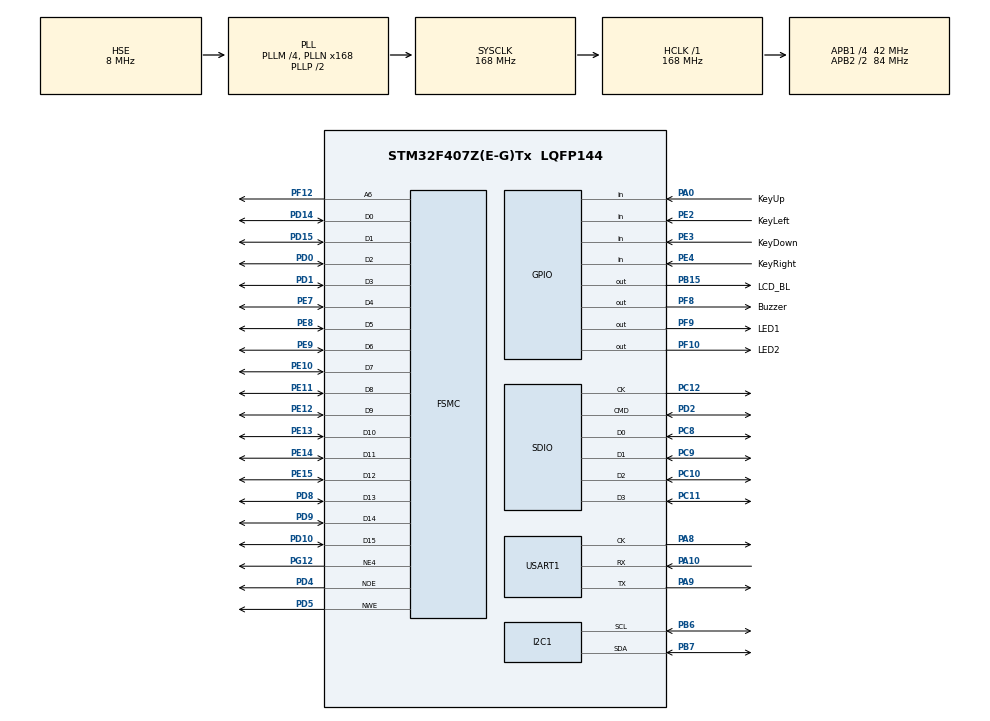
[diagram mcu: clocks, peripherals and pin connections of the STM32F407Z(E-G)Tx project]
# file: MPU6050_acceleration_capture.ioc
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FSMC.AccessMode4=FSMC_ACCESS_MODE_A
FSMC.AddressSetupTime4=2
FSMC.BusTurnAroundDuration4=0
FSMC.DataSetupTime4=16
FSMC.ExtendedAccessMode4=FSMC_ACCESS_MODE_A
FSMC.ExtendedAddressSetupTime4=4
FSMC.ExtendedBusTurnAroundDuration4=0
FSMC.ExtendedDataSetupTime4=9
FSMC.ExtendedMode4=FSMC_EXTENDED_MODE_ENABLE
FSMC.MemoryType4=FSMC_MEMORY_TYPE_SRAM
FSMC.NSBank4=FSMC_NORSRAM_BANK4
FSMC.WriteOperation4=FSMC_WRITE_OPERATION_ENABLE
I2C1.DutyCycle=I2C_DUTYCYCLE_16_9
I2C1.I2C_Mode=I2C_Fast
Mcu.Family=STM32F4
Mcu.Name=STM32F407Z(E-G)Tx
Mcu.Package=LQFP144
NVIC.PriorityGroup=NVIC_PRIORITYGROUP_4
NVIC.TIM2_IRQn=true\:0\:0\:false\:false\:true\:true\:true\:true
PA0-WKUP.GPIO_Label=KeyUp
PA0-WKUP.GPIO_PuPd=GPIO_PULLDOWN
PA0-WKUP.Signal=GPIO_Input
PA10.Mode=Synchronous
PA10.Signal=USART1_RX
PA13.Mode=Serial_Wire
PA13.Signal=SYS_JTMS-SWDIO
PA14.Mode=Serial_Wire
PA14.Signal=SYS_JTCK-SWCLK
PA8.Mode=Synchronous
PA8.Signal=USART1_CK
PA9.Mode=Synchronous
PA9.Signal=USART1_TX
PB15.GPIO_Label=LCD_BL
PB15.PinState=GPIO_PIN_RESET
PB15.Signal=GPIO_Output
PB6.Mode=I2C
PB6.Signal=I2C1_SCL
PB7.Mode=I2C
PB7.Signal=I2C1_SDA
PC10.Mode=SD_4_bits_Wide_bus
PC10.Signal=SDIO_D2
PC11.Mode=SD_4_bits_Wide_bus
PC11.Signal=SDIO_D3
PC12.Mode=SD_4_bits_Wide_bus
PC12.Signal=SDIO_CK
PC14-OSC32_IN.Mode=LSE-External-Oscillator
PC14-OSC32_IN.Signal=RCC_OSC32_IN
PC15-OSC32_OUT.Mode=LSE-External-Oscillator
PC15-OSC32_OUT.Signal=RCC_OSC32_OUT
PC8.Mode=SD_4_bits_Wide_bus
PC8.Signal=SDIO_D0
PC9.Mode=SD_4_bits_Wide_bus
PC9.Signal=SDIO_D1
PD0.Signal=FSMC_D2_DA2
PD1.Signal=FSMC_D3_DA3
PD10.Signal=FSMC_D15_DA15
PD14.Signal=FSMC_D0_DA0
PD15.Signal=FSMC_D1_DA1
PD2.Mode=SD_4_bits_Wide_bus
PD2.Signal=SDIO_CMD
PD4.Signal=FSMC_NOE
PD5.Signal=FSMC_NWE
PD8.Signal=FSMC_D13_DA13
PD9.Signal=FSMC_D14_DA14
PE10.Signal=FSMC_D7_DA7
PE11.Signal=FSMC_D8_DA8
PE12.Signal=FSMC_D9_DA9
PE13.Signal=FSMC_D10_DA10
PE14.Signal=FSMC_D11_DA11
PE15.Signal=FSMC_D12_DA12
PE2.GPIO_Label=KeyLeft
PE2.GPIO_PuPd=GPIO_PULLUP
PE2.Signal=GPIO_Input
PE3.GPIO_Label=KeyDown
PE3.GPIO_PuPd=GPIO_PULLUP
PE3.Signal=GPIO_Input
PE4.GPIO_Label=KeyRight
PE4.GPIO_PuPd=GPIO_PULLUP
PE4.Signal=GPIO_Input
PE7.Signal=FSMC_D4_DA4
PE8.Signal=FSMC_D5_DA5
PE9.Signal=FSMC_D6_DA6
PF10.GPIO_Label=LED2
PF10.Signal=GPIO_Output
PF12.Signal=FSMC_A6
PF8.GPIO_Label=Buzzer
PF8.GPIO_PuPd=GPIO_PULLDOWN
PF8.GPIO_Speed=GPIO_SPEED_FREQ_HIGH
PF8.PinState=GPIO_PIN_RESET
PF8.Signal=GPIO_Output
PF9.GPIO_Label=LED1
PF9.Signal=GPIO_Output
PG12.Mode=NorPsramChipSelect4_4
PG12.Signal=FSMC_NE4
PH0-OSC_IN.Mode=HSE-External-Oscillator
PH0-OSC_IN.Signal=RCC_OSC_IN
PH1-OSC_OUT.Mode=HSE-External-Oscillator
PH1-OSC_OUT.Signal=RCC_OSC_OUT
ProjectManager.HeapSize=0x200
ProjectManager.StackSize=0x400
ProjectManager.TargetToolchain=STM32CubeIDE
RCC.48MHZClocksFreq_Value=48000000
RCC.AHBFreq_Value=168000000
RCC.APB1CLKDivider=RCC_HCLK_DIV4
RCC.APB1Freq_Value=42000000
RCC.APB1TimFreq_Value=84000000
RCC.APB2CLKDivider=RCC_HCLK_DIV2
RCC.APB2Freq_Value=84000000
RCC.APB2TimFreq_Value=168000000
RCC.CortexFreq_Value=168000000
RCC.FLatency=FLASH_LATENCY_5
RCC.HCLKFreq_Value=168000000
RCC.HSE_VALUE=8000000
RCC.HSI_VALUE=16000000
RCC.PLLM=4
RCC.PLLN=168
RCC.PLLQ=7
RCC.PLLSourceVirtual=RCC_PLLSOURCE_HSE
RCC.SYSCLKFreq_VALUE=168000000
RCC.SYSCLKSource=RCC_SYSCLKSOURCE_PLLCLK
RCC.VCOOutputFreq_Value=336000000
SDIO.ClockDiv=6
SH.FSMC_A6.0=FSMC_A6,A6_4
SH.FSMC_D0_DA0.0=FSMC_D0,16b-d4
SH.FSMC_D10_DA10.0=FSMC_D10,16b-d4
SH.FSMC_D11_DA11.0=FSMC_D11,16b-d4
SH.FSMC_D12_DA12.0=FSMC_D12,16b-d4
SH.FSMC_D13_DA13.0=FSMC_D13,16b-d4
SH.FSMC_D14_DA14.0=FSMC_D14,16b-d4
SH.FSMC_D15_DA15.0=FSMC_D15,16b-d4
SH.FSMC_D1_DA1.0=FSMC_D1,16b-d4
SH.FSMC_D2_DA2.0=FSMC_D2,16b-d4
SH.FSMC_D3_DA3.0=FSMC_D3,16b-d4
SH.FSMC_D4_DA4.0=FSMC_D4,16b-d4
SH.FSMC_D5_DA5.0=FSMC_D5,16b-d4
SH.FSMC_D6_DA6.0=FSMC_D6,16b-d4
SH.FSMC_D7_DA7.0=FSMC_D7,16b-d4
SH.FSMC_D8_DA8.0=FSMC_D8,16b-d4
SH.FSMC_D9_DA9.0=FSMC_D9,16b-d4
SH.FSMC_NOE.0=FSMC_NOE,Lcd4
SH.FSMC_NWE.0=FSMC_NWE,Lcd4
TIM2.AutoReloadPreload=TIM_AUTORELOAD_PRELOAD_ENABLE
TIM2.Period=10000-1
TIM2.Prescaler=8400-1
USART1.VirtualMode=VM_SYNC
VP_FATFS_VS_SDIO.Mode=SDIO
VP_TIM2_VS_ClockSourceINT.Mode=Internal
board=custom

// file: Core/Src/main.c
/* USER CODE BEGIN Header */
/**
 ******************************************************************************
 * @file           : main.c
 * @brief          : Main program body
 ******************************************************************************
 * @attention
 *
 * Copyright (c) 2022 STMicroelectronics.
 * All rights reserved.
 *
 * This software is licensed under terms that can be found in the LICENSE file
 * in the root directory of this software component.
 * If no LICENSE file comes with this software, it is provided AS-IS.
 *
 ******************************************************************************
 */
/* USER CODE END Header */
#include "main.h"
#include "fatfs.h"
#include "i2c.h"
#include "sdio.h"
#include "tim.h"
#include "usart.h"
#include "gpio.h"
#include "fsmc.h"

/* USER CODE BEGIN Includes */
#include "lcd.h"
#include "MPU.h"
#include "string.h"

#include "lcd.h"   // 假设 lcd.h 是你用来控制 LCD 的头文件
#include "sdio.h"

//static int nums_tim_ex = -1;
static int nums_points = 0;
static int cur_rate = 0;
static int state = 0;
static char msg_tim[24];

void HAL_TIM_PeriodElapsedCallback(TIM_HandleTypeDef *htim)
{
	if(htim == &htim2)
	{
		if(state == 2)
		{
			//nums_tim_ex++;
			sprintf(msg_tim, "rate:%u/s", nums_points);
			cur_rate = nums_points;
			lcd_show_string(120, 0, 200, 20, 12, msg_tim, BLUE);
			nums_points = 0;
		}
	}
}

/* ------------------- 常量区 ------------------- */
#define BUFF_SIZE          240
#define AVG_SAMPLE_N       10
#define ACC_SENS           8192.0f          // LSB / g  (±2 g)
#define G2MS2              9.80665f          // 1 g = 9.80665 m/s²
#define PIXEL_SCALE        20.0f             // 1 m/s² -> 20 像素，可按需调整
#define LCD_Y_ZERO         200               // 在哪一行画 0 轴
#define FILE_FLUSH_LINES   64

/* ------------------- 全局 / 静态变量 ------------------- */
static float  acc_ms2_buf[BUFF_SIZE];        // 环形缓冲：真实 m/s²
static char   txt_buffer[FILE_FLUSH_LINES][32];
static int    txt_idx  = 0;                  // 写文本缓冲计数
static int    buf_idx  = 0;                  // 环形缓冲索引
static size_t points_total = 0;              // 采到的总点数

/* ------------------- 将 16 bit 原始值转换为 m/s² ------------------- */
static inline float raw_to_ms2(int16_t raw)
{
    return (raw / ACC_SENS) * G2MS2;
}

/* ------------------- 显示比例与坐标 ------------------- */
#define LCD_Y_ZERO      200.0f     /* 0 g 基准线像素行。改位置只需改这一行   */
#define BASE_PIXEL_SCALE 10.0f     /* 1 m/s² → 10 px（之前是 20 px）         */
/* ---------- Y 轴相关：已使用 ---------- */
#define LCD_Y_ZERO        200.0f
#define BASE_PIXEL_SCALE   10.0f   /* 1 m/s² → 10 px */
static float g_y_mult      = 1.0f; /* 纵向倍率 */

/* ---------- X 轴抽样：新增 ---------- */
#define X_SKIP_DEFAULT      8      /* 显示分辨率：每 8 个采样点 → 1 个像素 */
static uint8_t  g_x_skip   = X_SKIP_DEFAULT;  /* 运行时可调 */
static uint16_t g_x_accum  = 0;               /* 跳过计数器 */

/* 可选：运行时纵向放大倍率（例如按键修改 0.5 / 1 / 2） */
//static float g_y_mult = 1.0f;      /* 默认 ×1，可在按键或菜单里动态调整      */

/* USER CODE END Includes */

void SystemClock_Config(void);

int main(void)
{

  /* MCU Configuration--------------------------------------------------------*/

  /* Reset of all peripherals, Initializes the Flash interface and the Systick. */
  HAL_Init();

  /* Configure the system clock */
  SystemClock_Config();

  /* Initialize all configured peripherals */
  MX_GPIO_Init();
  MX_FSMC_Init();
  MX_I2C1_Init();
  MX_USART1_Init();
  MX_SDIO_SD_Init();
  MX_FATFS_Init();
  MX_TIM2_Init();
  /* USER CODE BEGIN 2 */
  HAL_TIM_Base_Start_IT(&htim2);
	lcd_init();
	mpu_init();
	//lcd_show_string(30, 50, 200, 16, 16, "starting", RED);

	while(create_and_write_txt() != 0)
	{
		lcd_show_string(40, 120, 200, 20, 32, "NO FAT32", RED);
		static int timer_value = 0;
		static int old_timer_value = 0;
		static int time_show_0 = 0;
		old_timer_value = timer_value;
		timer_value = __HAL_TIM_GET_COUNTER(&htim2);
		if(old_timer_value > timer_value)
		{
			time_show_0 ++;
			char msg_time_show_0[24];
			sprintf(msg_time_show_0,"waiting:%d",time_show_0);
			lcd_show_string(40, 160, 200, 20, 32, msg_time_show_0, RED);
		}
	}

	int data_list[240];
	float data_source_g[240];
	int data_list_diff[240];
	data_list[0]=0;
	unsigned int idx = 0;
	lcd_draw_line(0, 200, 239, 200,0x07FF);

  /* USER CODE END 2 */

  /* Infinite loop */
  /* USER CODE BEGIN WHILE */
	while (1) {

//		while (1) {
//
//			//KEY_TEST
//			int ans_key_W =read_key_state('W');
//			char MSG_KEY_W[32];
//			sprintf(MSG_KEY_W, "KEY_W:%d", ans_key_W);
//			lcd_show_string(0, 0, 200, 20, 16, MSG_KEY_W, RED);
//
//			int ans_key_A =read_key_state('A');
//			char MSG_KEY_A[32];
//			sprintf(MSG_KEY_A, "KEY_A:%d", ans_key_A);
//			lcd_show_string(0, 20, 200, 20, 16, MSG_KEY_A, RED);
//
//			int ans_key_S =read_key_state('S');
//			char MSG_KEY_S[32];
//			sprintf(MSG_KEY_S, "KEY_S:%d", ans_key_S);
//			lcd_show_string(0, 40, 200, 20, 16, MSG_KEY_S, RED);
//
//			int ans_key_D =read_key_state('D');
//			char MSG_KEY_D[32];
//			sprintf(MSG_KEY_D, "KEY_D:%d", ans_key_D);
//			lcd_show_string(0, 60, 200, 20, 16, MSG_KEY_D, RED);
//
//		}
		int is_fir = 1;
		static char cur_dir = 'x';
		char data_path[24];

		while(state == 0)
		{
			lcd_show_string(0, 0, 200, 20, 16, ">>>----<<<          ", BLACK);
			lcd_show_string(0, 20, 200, 20, 16, "MAIN MENU", BLUE);
			lcd_show_string(0, 40, 200, 20, 16, "[A:START]", BLACK);
			if(is_fir == 1)
			{
				lcd_show_string(0, 140, 200, 20, 16, "CUR DIR:X  ", 0xB9E0);
				is_fir = 0;
			}
			lcd_show_string(0, 60, 200, 20, 16, "[S:CHANGE DIR Y]", BLACK);
			lcd_show_string(0, 80, 200, 20, 16, "[W:CHANGE DIR Z]", BLACK);
			lcd_show_string(0, 100, 200, 20, 16, "[D:CHANGE DIR X]", BLACK);
			lcd_show_string(0, 120, 200, 20, 16, ">>>----<<<", BLACK);

			lcd_show_string(120, 240, 200, 20, 16, "---KEY SET---", BLACK);
			lcd_show_string(120, 260, 200, 20, 16, "        oW", BLACK);
			lcd_show_string(120, 285, 200, 20, 16, "oRST oA oS oD", BLACK);
			if(read_key_state('A') == 0)
			{
				while(read_key_state('A') == 0)
				{

				}
				lcd_fill(0, 0, 239, 319,0xFFFF);
				state = 1;
			}

			if(read_key_state('S') == 0)
			{
				lcd_show_string(0, 140, 200, 20, 16, " CUR DIR:Y  ", 0x045F);
				cur_dir = 'y';
				data_path[4]='y';
			}

			if(read_key_state('W') == 0)
			{
				lcd_show_string(0, 140, 200, 20, 16, "  CUR DIR:Z ", 0x05E0);
				cur_dir = 'z';
				data_path[4]='z';
			}

			if(read_key_state('D') == 0)
			{
				lcd_show_string(0, 140, 200, 20, 16, "CUR DIR:X  ", 0xB9E0);
				cur_dir = 'x';
				data_path[4]='x';
			}
		}
		static int sel_file = 2;
		while(state == 1)
		{
			int is_fr_s1 = 1;
			int is_SD = 1;
			if(is_fr_s1 == 1)
			{
				is_SD = create_and_write_txt();
				is_fr_s1 = 0;
			}
			if(is_SD != 0)
			{
				char MSG_SD[32];
				sprintf(MSG_SD, "SD_FAT32_WRONG:%d", is_SD);  // 显示两位小数
				lcd_show_string(0, 0, 200, 20, 16, MSG_SD, RED);

				lcd_fill(0, 20, 239, 319,0xFFFF);
				state = 0;
			}
			else
			{
				lcd_show_string(0, 0, 200, 20, 12, "W/S:SELECT FILE[A:OK][D:VIEW]", RED);
				lcd_show_string(120, 240, 200, 20, 16, "---KEY SET---", BLACK);
				lcd_show_string(120, 260, 200, 20, 16, "        oW", BLACK);
				lcd_show_string(120, 285, 200, 20, 16, "oRST oA oS oD", BLACK);
				int nums_file = display_sd_card_files();
				//state = 2;
				lcd_show_string(200, sel_file*12, 200, 20, 12, "<<<", BLUE);
				if(read_key_state('W') == 0)
				{
					if(sel_file > 1)
					{
						sel_file -= 1;
						lcd_fill(200, 12, 239, 319,0xFFFF);
						lcd_show_string(200, sel_file*12, 200, 20, 12, "<<<", BLUE);
						if(sel_file == 1)
						{
							lcd_fill(200, 12, 239, 319,0xFFFF);
							lcd_show_string(0, sel_file*12, 200, 20, 12, "NEW FILE", RED);
							lcd_show_string(200, sel_file*12, 200, 20, 12, "<<<", BLUE);
						}
					}
					while(read_key_state('W') == 0)
					{

					}
				}
				if(read_key_state('S') == 0)
				{
					if(sel_file < nums_file+1)
					{
						sel_file += 1;
						lcd_fill(200, 12, 239, 319,0xFFFF);
						lcd_show_string(200, sel_file*12, 200, 20, 12, "<<<", BLUE);
					}
					while(read_key_state('S') == 0)
					{

					}
				}
				if(read_key_state('A') == 0)
				{
					while(read_key_state('A') == 0)
					{

					}
					if(sel_file == 1)
					{
						int isOK_new_file = create_data_file(nums_file+1);
						if(isOK_new_file != 0)
						{
							lcd_fill(0, 12, 239, 319,0xFFFF);
							lcd_show_string(0, 0, 200, 20, 12, "File Create Failed", RED);
							lcd_show_string(0, 12, 200, 20, 12, "D:EXIT", RED);
							while(read_key_state('D') == 1)
							{

							}
						}
						else
						{
							snprintf(data_path, sizeof(data_path), "data%d.txt", nums_file+1);
							lcd_fill(0, 0, 239, 319,0xFFFF);
							state = 3;
						}
					}
					else
					{
						//char sel_file_name[24];
						int test_open_file = get_file_name_by_index(sel_file-2, data_path);
						//lcd_show_string(0, 12, 200, 20, 12, data_path, RED);
						lcd_fill(0, 0, 239, 319,0xFFFF);
						//lcd_show_string(0, 12, 200, 20, 12, sel_file_name, RED);
						state = 3;
					}
				}
				if(read_key_state('D') == 0)
				{
					while(read_key_state('D') == 0)
					{

					}
					lcd_fill(0, 0, 239, 319,0xFFFF);
					state = 4;
				}

			}
		}

		static int wave_show = 0;
		static unsigned int disp_rate = 0;
		if(state == 3)
		{
			lcd_show_string(0, 0, 200, 20, 12, data_path, BLACK);
			lcd_show_string(0, 12, 200, 20, 12, "[A:HIGH SPEED NO WAVE SHOW]", BLUE);
			lcd_show_string(0, 24, 200, 20, 12, "[S:LOW SPEED WITH WAVE SHOW]", RED);
			lcd_show_string(0, 36, 200, 20, 12, "[D:EXIT]", BLACK);
			if(read_key_state('A') == 0)
			{
				while(read_key_state('A') == 0)
				{

				}
				lcd_fill(0, 0, 239, 319,0xFFFF);
				wave_show = 0;
				state = 2;
			}

			if(read_key_state('S') == 0)
			{
				while(read_key_state('S') == 0)
				{

				}
				lcd_fill(0, 0, 239, 319,0xFFFF);
				wave_show = 1;
				state = 2;
			}

			if(read_key_state('D') == 0)
			{
				while(read_key_state('D') == 0)
				{

				}
				lcd_fill(0, 0, 239, 319,0xFFFF);
				state = 1;
			}
		}

		if(state == 4)
		{

			static int start_line = 0;
			display_file_first_10_lines(sel_file-2,start_line);
			lcd_show_string(0, 0, 200, 20, 12, "[D:EXIT][S:NETX PAGE][W:LAST PAGE]", RED);

//			lcd_show_string(120, 240, 200, 20, 16, "---KEY SET---", BLACK);
//			lcd_show_string(120, 260, 200, 20, 16, "        oW", BLACK);
//			lcd_show_string(120, 285, 200, 20, 16, "oRST oA oS oD", BLACK);

			char title[]="PAGE:    ";
			snprintf(title, sizeof(title), "PAGE:%d", start_line/24+1);
			lcd_show_string(0, 12, 200, 20, 12, title, RED);

			if(read_key_state('D') == 0)
			{
				while(read_key_state('D') == 0)
				{

				}
				start_line = 0;
				lcd_fill(0, 0, 239, 319,0xFFFF);
				state = 1;
			}
			if(read_key_state('S') == 0)
			{
				while(read_key_state('S') == 0)
				{

				}
				lcd_fill(0, 0, 239, 319,0xFFFF);
				start_line += 24;
			}
			if(read_key_state('W') == 0)
			{
				while(read_key_state('W') == 0)
				{

				}
				lcd_fill(0, 0, 239, 319,0xFFFF);
				if(start_line >= 24)
				{
					start_line -= 24;
				}
			}
		}

	    // 定义一个函数指针类型
	    typedef int16_t (*MPU_Read_Accel_Func)(void);

	    MPU_Read_Accel_Func read_accel_func;

	    if (cur_dir == 'x')
	    {
	        read_accel_func = MPU_Read_Accel_X;
	    }
	    else if (cur_dir == 'y')
	    {
	        read_accel_func = MPU_Read_Accel_Y;
	    }
	    else if (cur_dir == 'z')
	    {
	        read_accel_func = MPU_Read_Accel_Z;
	    }

	    char data_buffer[64][16];  // 缓存，用于存储 64 次加速度数据
	    int buffer_index = 0;     // 当前缓存索引

		float base_bis = 0;
		float cru_bis = 1.0;
		int is_fir_s2 = 1;

//		while(state == 2)
//		{
//		    idx = (idx + 1) % 240;
//		    int sum = 0;
//		    int16_t A = 0;  // 加�?�度值，根据方向动�?�获�??
//
//		    // 执行循环并读取加速度数据
//		    for (int j = 0; j < 60; j++)
//		    {
//		        A = read_accel_func();  // 调用函数指针，读取加速度数据
//		        sum += (int)(A);
//		    }
//		    float acc = sum *(1.0/ 30.0);
//
//
//		    char acc_show[16];
//		    float accel_in_g = acc * (1.0/16384.0);
//		    nums_points++;
//
//		    data_list[idx] = (int)(1000 * accel_in_g);
//		    if(idx > 3)
//		    {
//		        data_list_diff[idx] = ((data_list[idx] - data_list[idx - 1])+data_list_diff[idx-1]+data_list_diff[idx-2])*(1.0/3.0);
//		    }
////
//		    // 根据 cur_dir 显示不同的轴信息
//
//
//
//			if(cur_dir == 'x')
//			{
//				sprintf(acc_show, "X: %.4f *  \n", (data_list_diff[idx]) * cur_rate *(1.0/1000));
//			}
//			else if(cur_dir == 'y')
//			{
//				sprintf(acc_show, "Y: %.4f *  \n", (data_list_diff[idx]) * cur_rate*(1.0/1000));
//			}
//			else if(cur_dir == 'z')
//			{
//				sprintf(acc_show, "Z: %.4f *  \n", (data_list_diff[idx]) * cur_rate*(1.0/1000));
//			}
//
//
//		    // 将 acc_show 编写到数据缓冲区
//		    strncpy(data_buffer[buffer_index], acc_show, sizeof(acc_show));
//		    buffer_index++;
//		    // 当数据缓冲区满 64 条数据后，调用文件写入函数
//		    if (buffer_index >= 64)
//		    {
//		        buffered_append_txt_lines(data_path, data_buffer, 64);
//		        buffer_index = 0;  // 重置缓冲区指针
//		    }
//
//
//
//		    if(idx > 10 && idx < 230 && wave_show == 1)
//		    {
//		        lcd_draw_line(idx - 1, 200 - data_list_diff[idx - 1], idx, 200 - data_list_diff[idx], 0x001F);
//		    }
//		    else
//		    {
//		        if(idx == 235)
//		        {
//		            lcd_fill(0, 0, 239, 319, 0xFFFF);
//				    if(wave_show == 1)
//				    {
//						lcd_show_string(0, 0, 200, 16, 16, data_path, BLUE);
//						lcd_show_string(0, 20, 200, 16, 16, acc_show, BLUE);
//				    }
//
//		            for(int k = 0; k < 6; k++)
//		            {
//		                lcd_draw_line(5, 170 + 10 * k, 234, 170 + 10 * k, 0x07FF);
//		            }
//		            lcd_draw_line(5, 170, 5, 220, 0x07FF);
//		            lcd_draw_line(234, 170, 234, 220, 0x07FF);
//		        }
//		    }
//
//		    if(wave_show == 1)
//		    {
//		    	disp_rate++;
//		    	if(disp_rate % 20 == 0)
//		    	{
//				    lcd_show_string(0, 0, 200, 16, 16, data_path, BLUE);
//				    lcd_show_string(0, 20, 200, 16, 16, acc_show, BLUE);
//		    	}
//		    }
//
//		}

//		/* ------------------- 主循环 ------------------- */
//		while (state == 2)
//		{
//		    /* ===== 1. 采样并求平均 ===== */
//		    int32_t sum_raw = 0;
//		    for (int j = 0; j < AVG_SAMPLE_N; ++j)
//		        sum_raw += (int32_t)read_accel_func();   // 读 X/Y/Z 中选定方向的原始计数
//
//		    float acc_ms2 = raw_to_ms2(sum_raw / (float)AVG_SAMPLE_N);
//
//		    /* ===== 2. 存入环形缓冲 ===== */
//		    buf_idx = (buf_idx + 1) % BUFF_SIZE;
//		    acc_ms2_buf[buf_idx] = acc_ms2;
//		    ++points_total;
//
//		    /* ===== 3. 生成要显示 / 记录的字符串 ===== */
//		    char line[32];
//		    snprintf(line, sizeof(line), "%c: %+7.3f m/s^2\r\n", cur_dir, acc_ms2);
//
//		    strncpy(txt_buffer[txt_idx], line, sizeof(line));
//		    if (++txt_idx >= FILE_FLUSH_LINES)
//		    {
//		        buffered_append_txt_lines(data_path, txt_buffer, FILE_FLUSH_LINES);
//		        txt_idx = 0;
//		    }
//
//
//		    /* ===== 4. 绘波形（点对点连线） ===== */
//		    if (wave_show && points_total > 1)
//		    {
//		        /* 像素比例：物理量×(px / m/s²)*倍率 */
//		        const float px_per_ms2 = BASE_PIXEL_SCALE * g_y_mult;
//
//		        /* 计算上一点 / 当前点的像素坐标 */
//		        int16_t x_prev = (buf_idx == 0) ? BUFF_SIZE - 1 : buf_idx - 1;
//		        int16_t y_prev = (int16_t)(LCD_Y_ZERO - acc_ms2_buf[x_prev] * px_per_ms2);
//		        int16_t y_now  = (int16_t)(LCD_Y_ZERO - acc_ms2       * px_per_ms2);
//
//		        /* 限幅防止越界 */
//		        if (y_prev < 0)   y_prev = 0;
//		        if (y_prev > 319) y_prev = 319;
//		        if (y_now  < 0)   y_now  = 0;
//		        if (y_now  > 319) y_now  = 319;
//
//		        lcd_draw_line(x_prev, y_prev, buf_idx, y_now, 0x001F);
//		    }
//
//
//		    /* ===== 5. 每一圈清屏、重画网格与标题 ===== */
//		    if (buf_idx == BUFF_SIZE - 5)
//		    {
//		        lcd_fill(0, 0, 239, 319, 0xFFFF);                 // 背景白
//		        if (wave_show)
//		        {
//		            lcd_show_string(0, 0, 240, 16, 16, data_path, BLUE);
//		            lcd_show_string(0, 20, 240, 16, 16, line,     BLUE);
//		        }
//
//		        /* 画网格（示例 5 条水平线） */
//		        for (int k = 0; k < 6; ++k)
//		        {
//		            int y = LCD_Y_ZERO - 25 + 10 * k;
//		            lcd_draw_line(5, y, 234, y, 0x07FF);
//		        }
//		        lcd_draw_line(5,   LCD_Y_ZERO-25, 5,   LCD_Y_ZERO+25, 0x07FF);
//		        lcd_draw_line(234, LCD_Y_ZERO-25, 234, LCD_Y_ZERO+25, 0x07FF);
//		    }
//
//		    /* ===== 6. 周期性刷新文字 ===== */
//		    static uint32_t disp_cnt = 0;
//		    if (wave_show && (++disp_cnt % 20 == 0))
//		    {
//		        lcd_show_string(0, 0, 240, 16, 16, data_path, BLUE);
//		        lcd_show_string(0, 20, 240, 16, 16, line,     BLUE);
//		    }
//		    nums_points++;//这是记录采样率的变量，别删了，采样率显示函数在时钟中断里
//		}

		/* ------------------- 主循环 ------------------- */
		while (state == 2)
		{
		    /* ===== 1. 采样并求平均 ===== */
		    int32_t sum_raw = 0;
		    for (int j = 0; j < AVG_SAMPLE_N; ++j)
		        sum_raw += (int32_t)read_accel_func();          // 读选定轴原始计数

		    float acc_ms2 = raw_to_ms2(sum_raw / (float)AVG_SAMPLE_N);

		    /* --------------------------------------------------
		     * X 轴抽样限速：
		     *   只有当累积计数 >= g_x_skip 时，才前进 1 个像素并存入环形缓冲
		     * -------------------------------------------------- */
		    if (++g_x_accum >= g_x_skip)    /* 到达抽样间隔 */
		    {
		        g_x_accum = 0;              /* 计数清零 */

		        /* ===== 2. 存入环形缓冲 ===== */
		        buf_idx = (buf_idx + 1) % BUFF_SIZE;
		        acc_ms2_buf[buf_idx] = acc_ms2;
		        ++points_total;

		        /* ===== 3. 生成要显示 / 记录的字符串 ===== */
		        char line[32];
		        snprintf(line, sizeof(line),
		                 "%c: %+7.3f m/s^2\r\n", cur_dir, acc_ms2);

		        strncpy(txt_buffer[txt_idx], line, sizeof(line));
		        if (++txt_idx >= FILE_FLUSH_LINES)
		        {
		            buffered_append_txt_lines(data_path,
		                                      txt_buffer,
		                                      FILE_FLUSH_LINES);
		            txt_idx = 0;
		        }

		        /* ===== 4. 绘波形（点对点连线） ===== */
		        if (wave_show && points_total > 1)
		        {
		            const float px_per_ms2 = BASE_PIXEL_SCALE * g_y_mult;

		            int16_t x_prev = (buf_idx == 0) ? (BUFF_SIZE - 1)
		                                            : (buf_idx - 1);
		            int16_t y_prev = (int16_t)(LCD_Y_ZERO
		                               - acc_ms2_buf[x_prev] * px_per_ms2);
		            int16_t y_now  = (int16_t)(LCD_Y_ZERO
		                               - acc_ms2          * px_per_ms2);

		            /* 防越界 */
		            y_prev = (y_prev < 0)   ? 0 : (y_prev > 319 ? 319 : y_prev);
		            y_now  = (y_now  < 0)   ? 0 : (y_now  > 319 ? 319 : y_now);

		            lcd_draw_line(x_prev, y_prev, buf_idx, y_now, 0x001F);
		        }

		        /* ===== 5. 每一圈清屏、重画网格与标题 ===== */
		        if (buf_idx == (BUFF_SIZE - 5))
		        {
		            lcd_fill(0, 0, 239, 319, 0xFFFF);  // 背景白
		            if (wave_show)
		            {
		                lcd_show_string(0, 0, 240, 16, 16, data_path, BLUE);
		                lcd_show_string(0, 20, 240, 16, 16, line,     BLUE);
		            }

		            /* 画 5 条水平网格线 */
		            for (int k = 0; k < 6; ++k)
		            {
		                int y = LCD_Y_ZERO - 25 + 10 * k;
		                lcd_draw_line(5, y, 234, y, 0x07FF);
		            }
		            lcd_draw_line(5,   LCD_Y_ZERO - 25,
		                          5,   LCD_Y_ZERO + 25, 0x07FF);
		            lcd_draw_line(234, LCD_Y_ZERO - 25,
		                          234, LCD_Y_ZERO + 25, 0x07FF);
		        }
		    } /* (end of X-skip block) */

		    /* ===== 6. 周期性刷新文字 ===== */
		    static uint32_t disp_cnt = 0;
		    if (wave_show && (++disp_cnt % 20 == 0))
		    {
		        lcd_show_string(0, 0, 240, 16, 16, data_path, BLUE);
		        /* 显示最近一次 line 字符串 */
		        lcd_show_string(0, 20, 240, 16, 16,
		                        txt_buffer[(txt_idx ? txt_idx : FILE_FLUSH_LINES) - 1],
		                        BLUE);
		    }

		    nums_points++;   /* 统计原始采样速率（时钟中断里显示） */
		}

    /* USER CODE END WHILE */

	}
}

void SystemClock_Config(void)
{
  RCC_OscInitTypeDef RCC_OscInitStruct = {0};
  RCC_ClkInitTypeDef RCC_ClkInitStruct = {0};

  /** Configure the main internal regulator output voltage
  */
  __HAL_RCC_PWR_CLK_ENABLE();
  __HAL_PWR_VOLTAGESCALING_CONFIG(PWR_REGULATOR_VOLTAGE_SCALE1);

  /** Initializes the RCC Oscillators according to the specified parameters
  * in the RCC_OscInitTypeDef structure.
  */
  RCC_OscInitStruct.OscillatorType = RCC_OSCILLATORTYPE_HSE;
  RCC_OscInitStruct.HSEState = RCC_HSE_ON;
  RCC_OscInitStruct.PLL.PLLState = RCC_PLL_ON;
  RCC_OscInitStruct.PLL.PLLSource = RCC_PLLSOURCE_HSE;
  RCC_OscInitStruct.PLL.PLLM = 4;
  RCC_OscInitStruct.PLL.PLLN = 168;
  RCC_OscInitStruct.PLL.PLLP = RCC_PLLP_DIV2;
  RCC_OscInitStruct.PLL.PLLQ = 7;
  if (HAL_RCC_OscConfig(&RCC_OscInitStruct) != HAL_OK)
  {
    Error_Handler();
  }

  /** Initializes the CPU, AHB and APB buses clocks
  */
  RCC_ClkInitStruct.ClockType = RCC_CLOCKTYPE_HCLK|RCC_CLOCKTYPE_SYSCLK
                              |RCC_CLOCKTYPE_PCLK1|RCC_CLOCKTYPE_PCLK2;
  RCC_ClkInitStruct.SYSCLKSource = RCC_SYSCLKSOURCE_PLLCLK;
  RCC_ClkInitStruct.AHBCLKDivider = RCC_SYSCLK_DIV1;
  RCC_ClkInitStruct.APB1CLKDivider = RCC_HCLK_DIV4;
  RCC_ClkInitStruct.APB2CLKDivider = RCC_HCLK_DIV2;

  if (HAL_RCC_ClockConfig(&RCC_ClkInitStruct, FLASH_LATENCY_5) != HAL_OK)
  {
    Error_Handler();
  }
}

void Error_Handler(void)
{
	__disable_irq();
	while (1) {
	}
}
